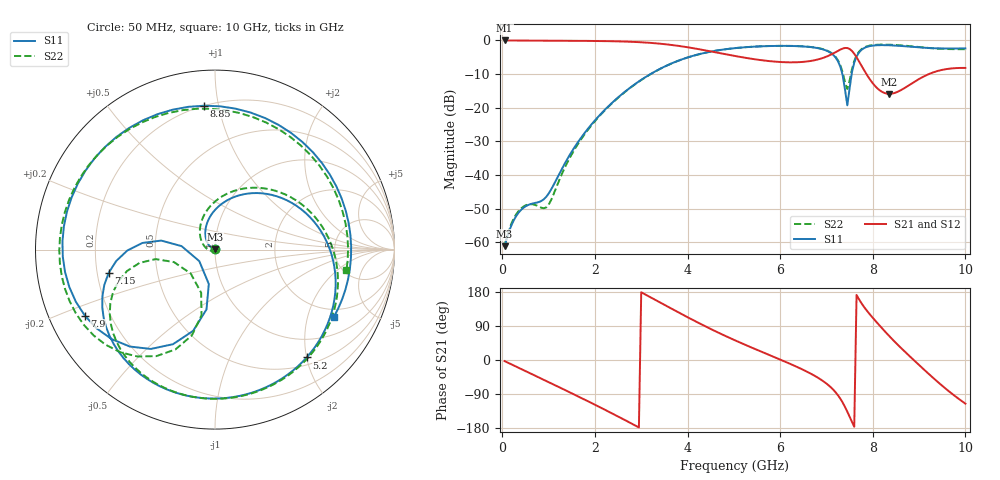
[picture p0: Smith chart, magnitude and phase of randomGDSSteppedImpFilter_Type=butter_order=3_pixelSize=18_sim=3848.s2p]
! freq	dB(S11)	phase(S11)	dB(S12)	phase(S12)
!  dB(S21)	phase(S21)	dB(S22)	phase(S22)
!S-par simulation data
#  GHz  S  DB  R 50
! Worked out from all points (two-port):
!   200 points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, 50 MHz to 10 GHz, reference 50 ohm
!   highest |S21| = 0.00 dB at 50 MHz (marker M1); lowest = -15.9 dB at 8.35 GHz (marker M2)
!   |S21| within 3 dB of the highest: start of sweep to 4.406 GHz; 7.261 GHz to 7.541 GHz (280.1 MHz wide, 3.79 % of centre)
!   lowest |S11| = -61.1 dB at 50 MHz (marker M3), VSWR 1.00, Z = 50.1 + j0.0596 ohm
!   |S11| at or under -10 dB: start of sweep to 3.199 GHz; 7.343 GHz to 7.544 GHz (201.2 MHz wide, 2.7 % of centre)
!   |S22| runs from -61.0 to -1.2 dB; largest |S21 - S12| = 0
!   S11 on the Smith chart (normalised r, x): 50 MHz: 1.00, +0.00; 5.2 GHz: 0.63, -2.00; 7.15 GHz: 0.25, -0.10; 7.9 GHz: 0.11, -0.24; 8.85 GHz: 0.20, +0.91; 10 GHz: 1.65, -2.95
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0.05  -61.15 42.8  -0.00 -2.9  -0.00 -2.9  -60.97 42.7
0.4  -50.44 73.6  -0.04 -23.4  -0.04 -23.4  -49.99 46.0
1  -45.52 127.0  -0.07 -58.4  -0.07 -58.4  -48.84 -67.5
1.75  -28.00 144.5  -0.13 -102.9  -0.13 -102.9  -28.41 -179.5
2.65  -15.22 101.6  -0.33 -158.6  -0.33 -158.6  -15.30 116.4
3.4  -8.48 56.6  -0.96 152.3  -0.96 152.3  -8.51 64.9
4.1  -4.64 12.9  -2.25 106.6  -2.25 106.6  -4.65 18.2
5.05  -2.25 -41.7  -4.69 50.6  -4.69 50.6  -2.25 -38.0
5.2  -2.06 -49.6  -5.05 42.5  -5.05 42.5  -2.06 -46.0
6  -1.62 -90.6  -6.41 1.2  -6.41 1.2  -1.61 -86.6
6.7  -2.04 -130.1  -6.00 -38.6  -6.00 -38.6  -2.00 -124.1
7.15  -4.35 -167.7  -3.84 -78.8  -3.84 -78.8  -4.20 -157.2
7.3  -7.83 174.8  -2.72 -102.2  -2.72 -102.2  -7.39 -170.0
7.45  -19.28 -143.8  -2.25 -136.3  -2.25 -136.3  -14.43 -135.5
7.6  -6.58 -105.1  -3.95 -176.2  -3.95 -176.2  -6.09 -105.1
7.75  -2.87 -131.3  -7.34 150.9  -7.34 150.9  -2.67 -125.9
7.9  -1.80 -153.1  -10.80 125.8  -10.80 125.8  -1.64 -144.7
8.35  -1.43 154.4  -15.87 63.9  -15.87 63.9  -1.26 170.8
8.85  -1.89 94.3  -12.72 3.9  -12.72 3.9  -1.75 119.9
9.1  -2.16 63.0  -10.71 -24.6  -10.71 -24.6  -2.10 91.5
9.4  -2.36 27.6  -9.08 -57.6  -9.08 -57.6  -2.44 56.2
10  -2.37 -29.5  -8.16 -115.2  -8.16 -115.2  -2.60 -9.0
